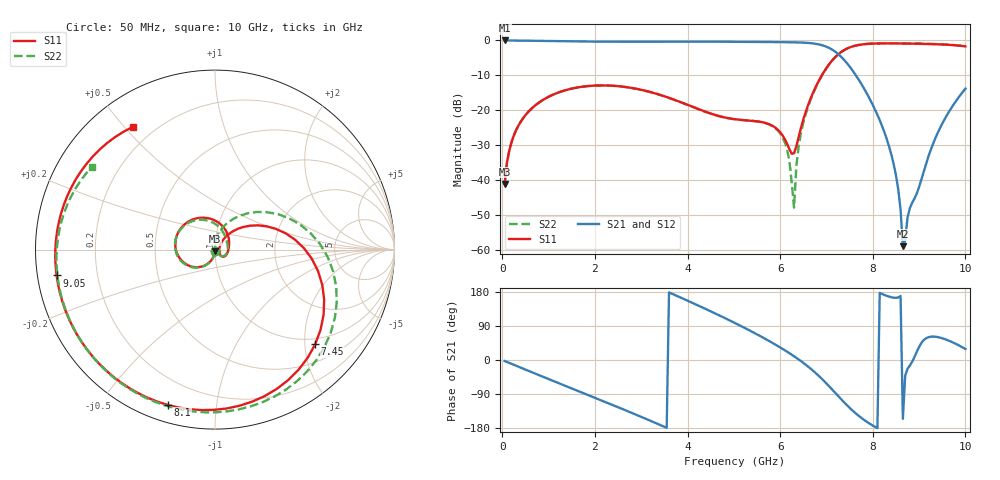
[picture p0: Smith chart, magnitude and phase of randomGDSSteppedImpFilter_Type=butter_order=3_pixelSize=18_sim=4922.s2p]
! freq	dB(S11)	phase(S11)	dB(S12)	phase(S12)
!  dB(S21)	phase(S21)	dB(S22)	phase(S22)
!S-par simulation data
#  GHz  S  DB  R 50
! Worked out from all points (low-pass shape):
!   200 points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, 50 MHz to 10 GHz, reference 50 ohm
!   highest |S21| = 0.00 dB at 50 MHz (marker M1); lowest = -59.0 dB at 8.65 GHz (marker M2)
!   |S21| within 3 dB of the highest: start of sweep to 7.165 GHz
!   lowest |S11| = -41.1 dB at 50 MHz (marker M3), VSWR 1.02, Z = 50 - j0.876 ohm
!   |S11| at or under -10 dB: start of sweep to 6.901 GHz
!   |S22| runs from -48.0 to -0.8 dB; largest |S21 - S12| = 0
!   S11 on the Smith chart (normalised r, x): 50 MHz: 1.00, -0.02; 7.45 GHz: 0.87, -2.23; 8.1 GHz: 0.08, -0.74; 9.05 GHz: 0.06, -0.08; 10 GHz: 0.12, +0.53
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0.05  -41.14 -92.3  -0.00 -2.6  -0.00 -2.6  -41.14 -92.2
0.2  -29.14 -100.4  -0.02 -10.2  -0.02 -10.2  -29.14 -100.1
0.5  -21.43 -116.2  -0.07 -25.3  -0.07 -25.3  -21.43 -115.3
1.75  -13.23 -179.9  -0.31 -87.4  -0.31 -87.4  -13.24 -176.4
2.5  -13.11 141.7  -0.37 -124.6  -0.37 -124.6  -13.12 147.5
3.4  -15.58 93.0  -0.34 -170.9  -0.34 -170.9  -15.59 103.7
4.15  -19.26 49.2  -0.34 148.3  -0.34 148.3  -19.28 66.3
5.05  -22.64 -3.0  -0.39 96.0  -0.39 96.0  -22.66 16.2
6  -26.32 -45.8  -0.48 33.3  -0.48 33.3  -26.68 -49.0
6.2  -31.22 -30.2  -0.52 18.0  -0.52 18.0  -34.54 -60.3
6.3  -32.35 10.4  -0.54 9.9  -0.54 9.9  -47.97 56.5
6.4  -27.68 42.7  -0.57 1.4  -0.57 1.4  -30.33 90.0
6.7  -15.32 42.4  -0.84 -27.2  -0.84 -27.2  -15.58 64.7
7.05  -6.96 7.1  -2.10 -68.4  -2.10 -68.4  -7.01 23.3
7.45  -2.29 -43.4  -6.64 -120.3  -6.64 -120.3  -2.29 -29.6
8.1  -0.87 -106.9  -21.33 -179.8  -21.33 -179.8  -0.84 -93.6
8.35  -0.84 -125.3  -30.33 167.3  -30.33 167.3  -0.80 -111.6
8.55  -0.86 -138.8  -42.74 164.9  -42.74 164.9  -0.82 -124.6
8.65  -0.88 -145.3  -59.02 -155.1  -59.02 -155.1  -0.83 -130.8
9.05  -0.97 -170.7  -39.85 45.1  -39.85 45.1  -0.92 -154.5
9.45  -1.13 163.5  -25.19 59.1  -25.19 59.1  -1.08 -178.0
10  -1.69 123.8  -13.84 29.1  -13.84 29.1  -1.65 146.3
